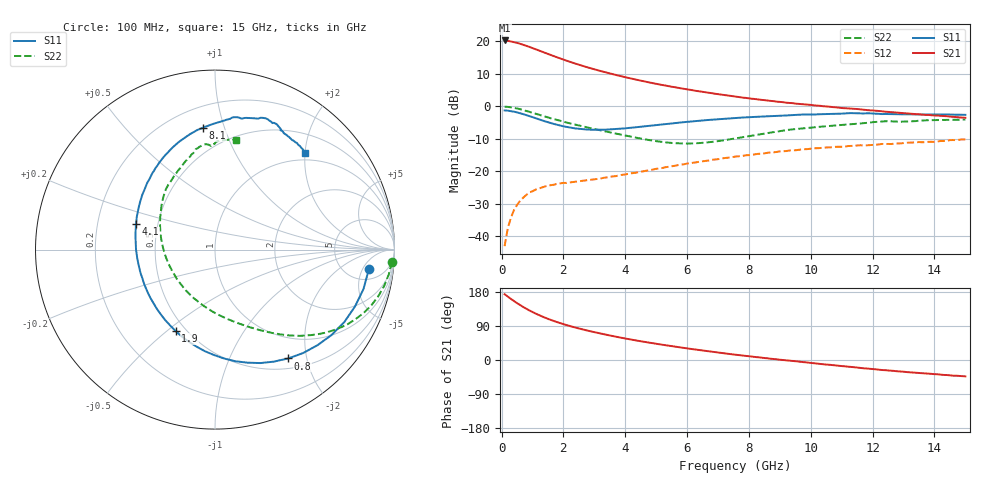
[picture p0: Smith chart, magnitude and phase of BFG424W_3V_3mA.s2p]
! Filename BFG424W_3V_3mA.prm
! Simulation_Values
!	! Created	by	janssen	on	Thu	Sep	15	10:02:03	WETDST	2005
!	Column ranking S11, S21,S12,S22 both magnitude and phase.
!	VCE	=	3	V,	IC	=	3	mA
!	Common	Emitter	S-Parameters
#	GHz	S	MA	R	50
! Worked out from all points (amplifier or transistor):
!   150 points, 100 MHz to 15 GHz, reference 50 ohm
!   highest |S21| = 20.3 dB at 100 MHz (marker M1)
!   |S21| within 3 dB of that: start of sweep to 1.183 GHz
!   unconditionally stable (mu >= 1): 2.691 GHz to end of sweep
!   at 2.6 GHz: K = 0.97, MSG = 17.7 dB, |S12| = -23.0 dB
!   at 7.6 GHz: K = 1.37, MAG = 5.6 dB, |S12| = -15.4 dB
!   at 15 GHz: K = 1.24, MAG = 0.4 dB, |S12| = -10.2 dB
!   S11 on the Smith chart (normalised r, x): 100 MHz: 8, -7; 800 MHz: 0.65, -1.69; 1.9 GHz: 0.44, -0.54; 4.1 GHz: 0.37, +0.13; 8.1 GHz: 0.33, +0.85; 15 GHz: 0.84, +2.00
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0.1  0.864 -7.4  10.32 173.6  0.007 89.4  0.987 -4.0
0.2  0.856 -14.9  10.2 167.5  0.013 81.9  0.978 -8.2
0.3  0.842 -22.1  9.959 161.5  0.019 76.8  0.964 -12.1
0.5  0.805 -36.2  9.481 150.2  0.03 69.1  0.925 -19.6
0.6  0.781 -43.0  9.185 145.0  0.035 65.6  0.901 -23.1
0.8  0.731 -56.0  8.544 135.3  0.043 59.7  0.849 -29.3
0.9  0.705 -62.3  8.215 130.8  0.047 57.0  0.821 -32.1
1.1  0.655 -74.1  7.562 122.6  0.052 52.9  0.768 -37.1
1.4  0.587 -90.7  6.668 111.9  0.058 48.2  0.695 -43.5
1.6  0.549 -101.1  6.143 105.6  0.061 46.0  0.652 -47.3
1.9  0.504 -115.8  5.446 97.3  0.065 44.0  0.596 -52.4
2.2  0.471 -129.8  4.86 89.9  0.067 43.2  0.547 -57.2
2.6  0.445 -146.9  4.22 81.2  0.071 43.3  0.492 -63.4
3.3  0.436 -173.4  3.395 68.2  0.079 45.5  0.416 -75.1
4.1  0.463 162.2  2.74 55.2  0.091 47.6  0.347 -91.8
5.1  0.518 138.8  2.168 41.7  0.11 48.1  0.286 -119.5
6.1  0.581 121.3  1.787 29.5  0.133 46.0  0.267 -153.5
7.6  0.662 101.2  1.404 13.6  0.169 39.9  0.322 161.2
8.1  0.682 95.7  1.305 8.9  0.178 37.4  0.353 149.9
10.1  0.746 78.2  1.033 -8.5  0.225 25.2  0.474 117.9
12.6  0.755 59.7  0.812 -28.2  0.262 9.6  0.586 93.5
15  0.738 47.1  0.665 -43.2  0.308 -5.0  0.623 79.3
